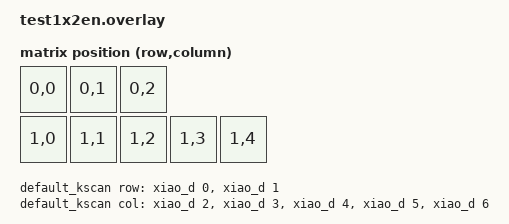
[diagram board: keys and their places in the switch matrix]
// Notes: this file's should match what's used in the .shield file's
// Since this is matrix wiring, we need a matrix transform macro, hence the "include" line.

#include <dt-bindings/zmk/matrix_transform.h>
#include "test1x2en.dtsi"

&xiao_spi {
	status = "okay";

	cs-gpios = <&xiao_d 8 GPIO_ACTIVE_LOW>; // define CS pins
	shift_reg: 595@0 {
		compatible = "zmk,gpio-595";
		status = "okay";
		gpio-controller;
		spi-max-frequency = <200000>;
		reg = <0>;
		#gpio-cells = <2>; // GPIO reference to this shift register requires 2 values: GPIO no. & GPIO flag
		ngpios = <8>; // no. of additional GPIOs. Must match enum list in ZMK main repo (zmk,gpio-595.yaml [8, 16, 24, 32])
	};
};

/ {
	chosen {
		zmk,kscan = &default_kscan;
		zmk,matrix_transform = &default_transform;
	};

	default_transform: matrix_transform {
		compatible = "zmk,matrix-transform";
		columns = <5>;
		rows = <2>;
// | K1  | K2  | ENC_PUSH
// | N_A | N_B | N_C       | N_D | N_S

		map = <
RC(0,0) RC(0,1) RC(0,2)
RC(1,0) RC(1,1) RC(1,2) RC(1,3) RC(1,4)
		>;
	};

	default_kscan: kscan {
		compatible = "zmk,kscan-gpio-matrix";
		label = "KSCAN"; // can name it whatever

		diode-direction = "col2row";

		col-gpios
			= <&xiao_d 2 (GPIO_ACTIVE_HIGH)>     //Col0
			, <&xiao_d 3 (GPIO_ACTIVE_HIGH)>     //Col1
			, <&xiao_d 4 (GPIO_ACTIVE_HIGH)>     //Col2
			, <&xiao_d 5 (GPIO_ACTIVE_HIGH)>     //Col2
			, <&xiao_d 6 (GPIO_ACTIVE_HIGH)>     //Col2
			;

		row-gpios
			= <&xiao_d 0 (GPIO_ACTIVE_HIGH | GPIO_PULL_DOWN)>     //Row0
			, <&xiao_d 1 (GPIO_ACTIVE_HIGH | GPIO_PULL_DOWN)>     //Row1
			;

	};

};

&left_encoder {
	status = "okay";
};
